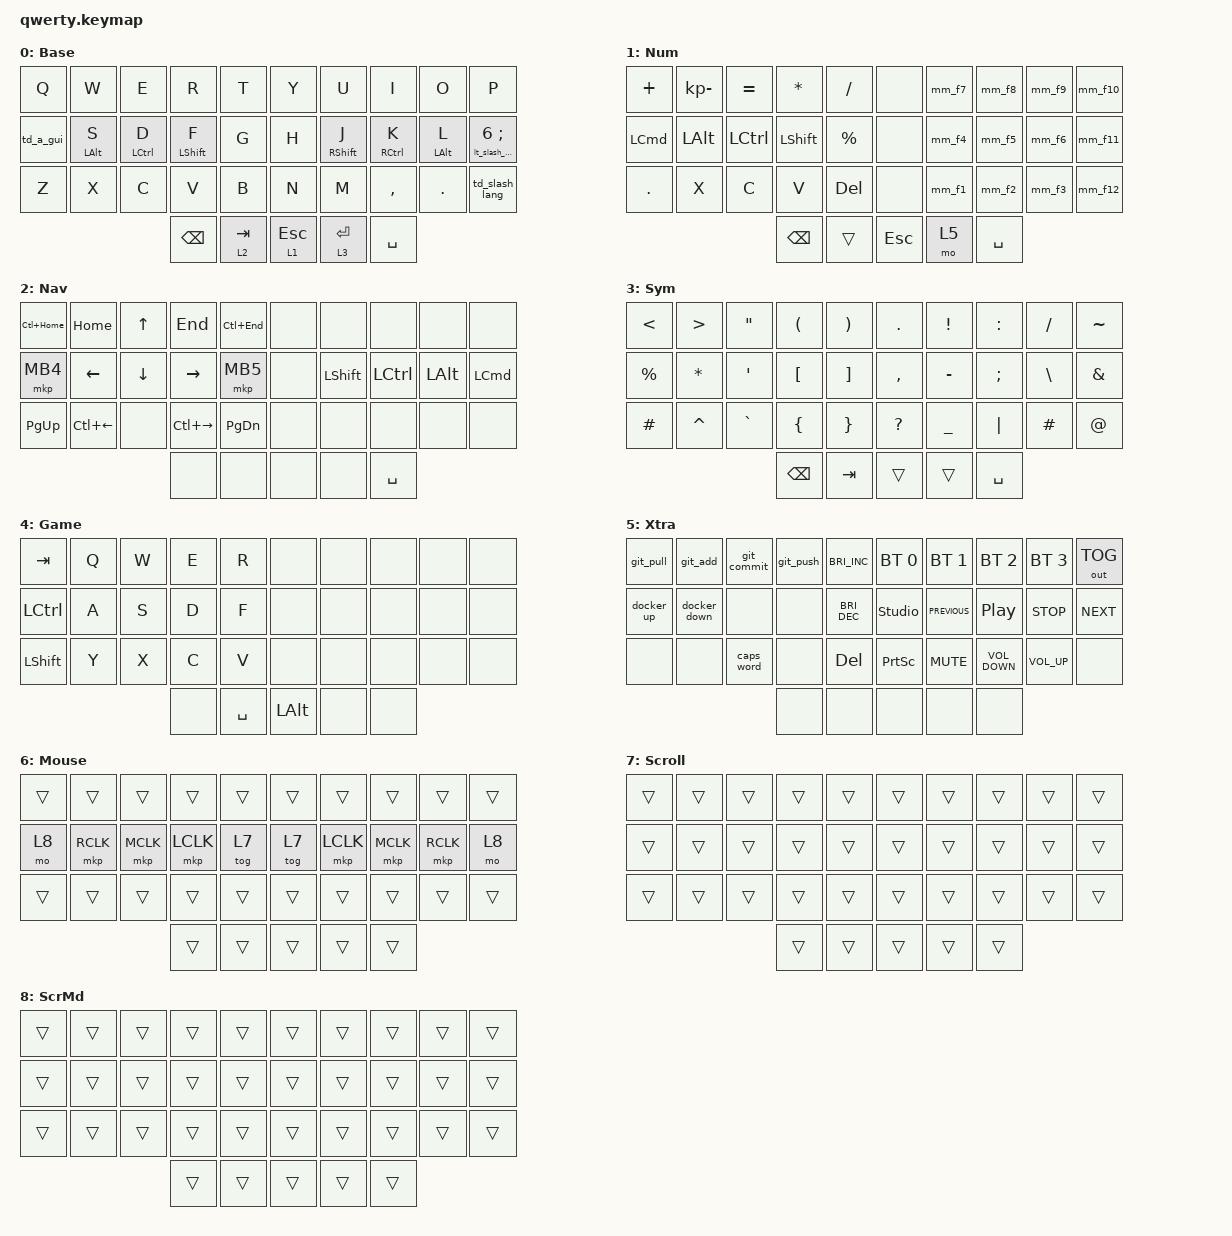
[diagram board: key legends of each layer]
/* upstream bindings and behaviors */
#include <behaviors.dtsi>
#include <dt-bindings/zmk/bt.h>
#include <dt-bindings/zmk/keys.h>
#include <dt-bindings/zmk/mouse.h>
#include <dt-bindings/zmk/outputs.h>
#include <behaviors/mouse_keys.dtsi>
#include <dt-bindings/zmk/ext_power.h>

/* local overlays */
#include "macros.dtsi"
#include "behaviors.dtsi"
#include "combos.dtsi"

/ {
    keymap {
        compatible = "zmk,keymap";
        BASE {
            display-name = "Base";
            bindings = <
    &kp Q        &kp W            &kp E             &kp R             &kp T          &kp Y  &kp U              &kp I              &kp O             &kp P
    &td_a_gui    &ht_left LALT S  &ht_left LCTRL D  &ht_left LSHFT F  &kp G          &kp H  &ht_right RSHFT J  &ht_right RCTRL K  &ht_right LALT L  &lt_slash_mouse 6 SEMICOLON
    &kp Z        &kp X            &kp C             &kp V             &kp B          &kp N  &kp M              &kp COMMA          &kp PERIOD        &td_slash_lang
                                                    &kp BACKSPACE     &lt 2 TAB      &lt 1 ESC     &lt 3 ENTER      &kp SPACE
            >;
        };

        NUM {
            display-name = "Num";
            bindings = <
    &kp PLUS     &kp KP_MINUS  &kp EQUAL      &kp ASTRK      &kp FSLH           &none      &mm_f7    &mm_f8    &mm_f9    &mm_f10
    &kp LCMD     &kp LALT      &kp LCTRL      &kp LSHFT      &kp PERCENT        &none      &mm_f4    &mm_f5    &mm_f6    &mm_f11
    &kp DOT      &kp X         &kp C          &kp V          &kp DEL            &none      &mm_f1    &mm_f2    &mm_f3    &mm_f12
                                              &kp BACKSPACE  &trans             &kp ESC    &mo 5     &kp SPACE
            >;
        };

        NAV {
            display-name = "Nav";
            bindings = <
    &kp LC(HOME)    &kp HOME        &kp UP    &kp END          &kp LC(END)        &none      &none      &none      &none      &none
    &mkp MB4        &kp LEFT_ARROW  &kp DOWN  &kp RIGHT_ARROW  &mkp MB5           &none      &kp LSHFT  &kp LCTRL  &kp LALT   &kp LCMD
    &kp PG_UP       &kp LC(LEFT)    &none     &kp LC(RIGHT)    &kp PG_DN          &none      &none      &none      &none      &none
                                              &none            &none              &none      &none      &kp SPACE
            >;
        };

        SYM {
            display-name = "Sym";
            bindings = <
    &kp LT       &kp GT    &kp DQT        &kp LPAR         &kp RPAR             &kp DOT    &kp EXCL      &kp COLON &kp FSLH  &kp TILDE
    &kp PRCNT    &kp ASTRK &kp SQT        &kp LBKT         &kp RBKT             &kp COMMA  &kp MINUS     &kp SEMI  &kp BSLH  &kp AMPS
    &kp HASH     &kp CARET &kp GRAVE      &kp LBRC         &kp RBRC             &kp QMARK  &kp UNDER     &kp PIPE  &kp HASH  &kp AT
                                          &kp BACKSPACE    &kp TAB              &trans     &trans        &kp SPACE
            >;
        };

        GAME {
            display-name = "Game";
            bindings = <
    &kp TAB      &kp Q  &kp W  &kp E          &kp R              &none      &none  &none  &none  &none
    &kp LCTRL    &kp A  &kp S  &kp D          &kp F              &none      &none  &none  &none  &none
    &kp LSHFT    &kp Y  &kp X  &kp C          &kp V              &none      &none  &none  &none  &none
                               &none          &kp SPACE          &kp LEFT_ALT      &none  &none
            >;
        };

        EXTRAS {
            display-name = "Xtra";
            bindings = <
    &git_pull       &git_add      &git_commit   &git_push       &kp C_BRIGHTNESS_INC      &bt BT_SEL 0         &bt BT_SEL 1    &bt BT_SEL 2       &bt BT_SEL 3     &out OUT_TOG
    &docker_up      &docker_down  &none         &none           &kp C_BRIGHTNESS_DEC      &studio_unlock       &kp C_PREVIOUS  &kp C_PLAY_PAUSE   &kp C_STOP       &kp C_NEXT
    &none           &none         &caps_word    &none           &kp DEL                   &kp PRINTSCREEN      &kp C_MUTE      &kp C_VOLUME_DOWN  &kp C_VOLUME_UP  &none
                                                &none           &none                     &none                &none           &none
            >;
        };

        MOUSE {
            display-name = "Mouse";
            bindings = <
    &trans    &trans     &trans     &trans     &trans        &trans     &trans     &trans     &trans     &trans
    &mo 8     &mkp RCLK  &mkp MCLK  &mkp LCLK  &tog 7        &tog 7     &mkp LCLK  &mkp MCLK  &mkp RCLK  &mo 8
    &trans    &trans     &trans     &trans     &trans        &trans     &trans     &trans     &trans     &trans
                                    &trans     &trans        &trans     &trans     &trans
            >;
        };

        SCROLL {
            display-name = "Scroll";
            bindings = <
    &trans    &trans    &trans    &trans    &trans        &trans    &trans    &trans    &trans    &trans
    &trans    &trans    &trans    &trans    &trans        &trans    &trans    &trans    &trans    &trans
    &trans    &trans    &trans    &trans    &trans        &trans    &trans    &trans    &trans    &trans
                                  &trans    &trans        &trans    &trans    &trans
            >;
        };

        SCROLL_MODE {
            display-name = "ScrMd";
            bindings = <
    &trans    &trans    &trans    &trans    &trans        &trans    &trans    &trans    &trans    &trans
    &trans    &trans    &trans    &trans    &trans        &trans    &trans    &trans    &trans    &trans
    &trans    &trans    &trans    &trans    &trans        &trans    &trans    &trans    &trans    &trans
                                  &trans    &trans        &trans    &trans    &trans
            >;
        };
    };
};
